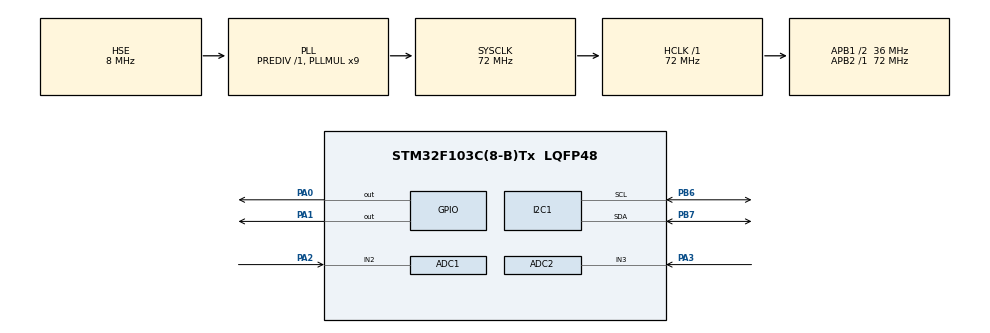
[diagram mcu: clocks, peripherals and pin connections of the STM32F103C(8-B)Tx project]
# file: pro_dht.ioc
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ADC1.Channel-0\#ChannelRegularConversion=ADC_CHANNEL_2
ADC1.NbrOfConversionFlag=1
ADC1.Rank-0\#ChannelRegularConversion=1
ADC1.SamplingTime-0\#ChannelRegularConversion=ADC_SAMPLETIME_55CYCLES_5
ADC1.master=1
ADC2.Channel-0\#ChannelRegularConversion=ADC_CHANNEL_3
ADC2.NbrOfConversionFlag=1
ADC2.Rank-0\#ChannelRegularConversion=1
ADC2.SamplingTime-0\#ChannelRegularConversion=ADC_SAMPLETIME_55CYCLES_5
FREERTOS.Queues01=myQueue01,16,uint16_t,0,Dynamic,NULL,NULL;myQueue02,16,uint16_t,0,Dynamic,NULL,NULL;myQueue03,16,uint16_t,0,Dynamic,NULL,NULL;myQueue04,16,uint16_t,0,Dynamic,NULL,NULL
FREERTOS.Tasks01=defaultTask,0,128,StartDefaultTask,Default,NULL,Dynamic,NULL,NULL;DHT11,0,128,DHT11_FULL,Default,NULL,Dynamic,NULL,NULL
Mcu.Family=STM32F1
Mcu.Name=STM32F103C(8-B)Tx
Mcu.Package=LQFP48
NVIC.PriorityGroup=NVIC_PRIORITYGROUP_4
PA0-WKUP.Signal=GPIO_Output
PA1.Signal=GPIO_Output
PA2.Signal=ADCx_IN2
PA3.Signal=ADCx_IN3
PB6.GPIO_Speed=GPIO_SPEED_FREQ_HIGH
PB6.Mode=I2C
PB6.Signal=I2C1_SCL
PB7.GPIO_Speed=GPIO_SPEED_FREQ_HIGH
PB7.Mode=I2C
PB7.Signal=I2C1_SDA
PD0-OSC_IN.Mode=HSE-External-Oscillator
PD0-OSC_IN.Signal=RCC_OSC_IN
PD1-OSC_OUT.Mode=HSE-External-Oscillator
PD1-OSC_OUT.Signal=RCC_OSC_OUT
ProjectManager.HeapSize=0x200
ProjectManager.StackSize=0x400
ProjectManager.TargetToolchain=MDK-ARM V5
RCC.ADCPresc=RCC_ADCPCLK2_DIV6
RCC.AHBFreq_Value=72000000
RCC.APB1CLKDivider=RCC_HCLK_DIV2
RCC.APB1Freq_Value=36000000
RCC.APB1TimFreq_Value=72000000
RCC.APB2Freq_Value=72000000
RCC.APB2TimFreq_Value=72000000
RCC.HCLKFreq_Value=72000000
RCC.PLLMUL=RCC_PLL_MUL9
RCC.PLLSourceVirtual=RCC_PLLSOURCE_HSE
RCC.SYSCLKFreq_VALUE=72000000
RCC.SYSCLKSource=RCC_SYSCLKSOURCE_PLLCLK
RCC.USBFreq_Value=72000000
SH.ADCx_IN2.0=ADC1_IN2,IN2
SH.ADCx_IN3.0=ADC2_IN3,IN3
TIM4.Period=0xffff-1
TIM4.Prescaler=72-1
VP_FREERTOS_VS_CMSIS_V1.Mode=CMSIS_V1
VP_SYS_VS_ND.Mode=No_Debug
VP_TIM4_VS_ClockSourceINT.Mode=Internal
board=custom

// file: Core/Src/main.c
/* USER CODE BEGIN Header */
/**
  ******************************************************************************
  * @file           : main.c
  * @brief          : Main program body
  ******************************************************************************
  * @attention
  *
  * <h2><center>&copy; Copyright (c) 2021 STMicroelectronics.
  * All rights reserved.</center></h2>
  *
  * This software component is licensed by ST under BSD 3-Clause license,
  * the "License"; You may not use this file except in compliance with the
  * License. You may obtain a copy of the License at:
  *                        opensource.org/licenses/BSD-3-Clause
  *
  ******************************************************************************
  */
/* USER CODE END Header */
#include "main.h"
#include "cmsis_os.h"

/* USER CODE BEGIN Includes */

#include "i2c-lcd.h"
#include "stdio.h"

/* USER CODE END Includes */

ADC_HandleTypeDef hadc1;
ADC_HandleTypeDef hadc2;

I2C_HandleTypeDef hi2c1;

TIM_HandleTypeDef htim4;

osThreadId defaultTaskHandle;
osThreadId DHT11Handle;
/* USER CODE BEGIN PV */
osMessageQId myQueue01Handle;
osMessageQId myQueue02Handle;
osMessageQId myQueue03Handle;
osMessageQId myQueue04Handle;
/* USER CODE END PV */

void SystemClock_Config(void);
static void MX_GPIO_Init(void);
static void MX_I2C1_Init(void);
static void MX_TIM4_Init(void);
static void MX_ADC1_Init(void);
static void MX_ADC2_Init(void);
void StartDefaultTask(void const * argument);
void DHT11_FULL(void const * argument);

/* USER CODE BEGIN 0 */

//delay function in microseconds
void delay (uint16_t time)
{
	__HAL_TIM_SET_COUNTER(&htim4, 0);
	while ((__HAL_TIM_GET_COUNTER(&htim4))<time);
}

/*
//Finction to display temperature
void Display_Temp (int Temp)
{
	char str[20] = {0};
	lcd_put_cur(0,0);

	sprintf (str, "Temp:%d", Temp);
	lcd_send_string(str);
	lcd_send_data('C');
}

////function to display RH
void Display_Rh (int Rh)
{
	char str[20] = {0};
	lcd_put_cur(0,10);

	sprintf (str, "Rh:%d", Rh);
	lcd_send_string(str);
	lcd_send_data('%');
}
*/
//variables declarations
uint8_t Rh_byte1, Rh_byte2, Temp_byte1, Temp_byte2;
uint16_t SUM, RH, TEMP;

uint32_t Temperature = 0;
uint32_t Humidity = 0;
uint8_t Presence = 0;

//function to set the pins as outputs
void Set_Pin_Output(GPIO_TypeDef *GPIOx, uint16_t GPIO_Pin)
{
	GPIO_InitTypeDef GPIO_InitStruct = {0};
	GPIO_InitStruct.Pin = GPIO_Pin;
	GPIO_InitStruct.Mode = GPIO_MODE_OUTPUT_PP;
	GPIO_InitStruct.Speed = GPIO_SPEED_FREQ_LOW;
	HAL_GPIO_Init(GPIOx, &GPIO_InitStruct);
}

//function to set pin as input
void Set_Pin_Input(GPIO_TypeDef *GPIOx, uint16_t GPIO_Pin)
{
	GPIO_InitTypeDef GPIO_InitStruct = {0};
	GPIO_InitStruct.Pin = GPIO_Pin;
	GPIO_InitStruct.Mode = GPIO_MODE_INPUT;
	GPIO_InitStruct.Pull = GPIO_NOPULL; //can be changed to PULLUP if no data is received from the pin
	HAL_GPIO_Init(GPIOx, &GPIO_InitStruct);
}

/***************************DHT11 FUNCTIONS BEGIN HERE**********************************************/
//Define the pin and the port for DHT11 Sensor
#define DHT11_PORT GPIOA
#define DHT11_PIN GPIO_PIN_1

//Function to send the start signal
void DHT11_Start (void)
{
	Set_Pin_Output (DHT11_PORT, DHT11_PIN); //set the dht pin as output
	/***********************************************/
	HAL_GPIO_WritePin(DHT11_PORT, DHT11_PIN, 1); //initialize with data pin high
	HAL_Delay(1000); //wait for 1000 milliseconds
	/***********************************************/

	HAL_GPIO_WritePin (DHT11_PORT, DHT11_PIN, 0); //pull the pin low
	delay(18000); //wait 18 milliseconds
	HAL_GPIO_WritePin (DHT11_PORT, DHT11_PIN, 1); //pull the pin high
	delay(20); //wait for 20 microseconds
	Set_Pin_Input(DHT11_PORT, DHT11_PIN); //set the pin as input
}

//dh11 function to check response
uint8_t DHT11_Check_Response (void)
{
	uint8_t Response = 0;
	delay(40); //first wait for 40 microseconds
	if (!(HAL_GPIO_ReadPin (DHT11_PORT, DHT11_PIN))) //check for pin to be low
	{
		delay(80); //wait for 80 microseconds
		if((HAL_GPIO_ReadPin (DHT11_PORT, DHT11_PIN))) Response = 1; //check if pin is high and return 1 to show sensor is present
		else Response = -1; //255
	}
	while ((HAL_GPIO_ReadPin (DHT11_PORT, DHT11_PIN))); //wait for the pin to go low again

	return Response;
}

//function to read data from dht11 signal pin
uint8_t DHT11_Read (void)
{
	uint8_t i, j;
	for (j=0;j<8;j++)
	{
		while(!(HAL_GPIO_ReadPin (DHT11_PORT, DHT11_PIN))); //wait for the pin to change to high
		delay(40); //wait for 40 microseconds
		if (!(HAL_GPIO_ReadPin (DHT11_PORT, DHT11_PIN))) //if the pin is low
		{
			i&= ~(1<<(7-j)); //write 0
		}
		else i|= (1<<(7-j)); //if the pin is high write 1
		while ((HAL_GPIO_ReadPin (DHT11_PORT, DHT11_PIN))); //wait for the pin to go low
	}

	return i;
}
//////////////////////////////////////DHT0///////////////////////
/* USER CODE END 0
void Display_Temp5 (int Temp5)
{
	char str[20] = {0};
	lcd_put_cur(1,0);

	sprintf (str, "Temp:%d", Temp5);
	lcd_send_string(str);
	lcd_send_data('C');
}

//function to display RH
void Display_Rh5 (int Rh5)
{
	char str[20] = {0};
	lcd_put_cur(1,10);

	sprintf (str, "Rh:%d", Rh5);
	lcd_send_string(str);
	lcd_send_data('%');
}
*/
//variables declarations
uint8_t Rh5_byte1, Rh5_byte2, Temp5_byte1, Temp5_byte2;
uint16_t SUM5, RH5, TEMP5;

uint32_t Temperature5 = 0;
uint32_t Humidity5 = 0;
uint8_t Presence5 = 0;

//function to set the pins as outputs
void Set_Pin_Output5(GPIO_TypeDef *GPIOx, uint16_t GPIO_Pin)
{
	GPIO_InitTypeDef GPIO_InitStruct = {0};
	GPIO_InitStruct.Pin = GPIO_Pin;
	GPIO_InitStruct.Mode = GPIO_MODE_OUTPUT_PP;
	GPIO_InitStruct.Speed = GPIO_SPEED_FREQ_LOW;
	HAL_GPIO_Init(GPIOx, &GPIO_InitStruct);
}

//function to set pin as input
void Set_Pin_Input5(GPIO_TypeDef *GPIOx, uint16_t GPIO_Pin)
{
	GPIO_InitTypeDef GPIO_InitStruct = {0};
	GPIO_InitStruct.Pin = GPIO_Pin;
	GPIO_InitStruct.Mode = GPIO_MODE_INPUT;
	GPIO_InitStruct.Pull = GPIO_NOPULL; //can be changed to PULLUP if no data is received from the pin
	HAL_GPIO_Init(GPIOx, &GPIO_InitStruct);
}

/***************************DHT11 FUNCTIONS BEGIN HERE**********************************************/
//Define the pin and the port for DHT11 Sensor
#define DHT11_PORT GPIOA
#define DHT11_PIN5 GPIO_PIN_0

//Function to send the start signal
void DHT11_Start5 (void)
{
	Set_Pin_Output5 (DHT11_PORT, DHT11_PIN5); //set the dht pin as output
	/***********************************************/
	HAL_GPIO_WritePin(DHT11_PORT, DHT11_PIN5, 1); //initialize with data pin high
	HAL_Delay(1000); //wait for 1000 milliseconds
	/***********************************************/

	HAL_GPIO_WritePin (DHT11_PORT, DHT11_PIN5, 0); //pull the pin low
	delay(18000); //wait 18 milliseconds
	HAL_GPIO_WritePin (DHT11_PORT, DHT11_PIN5, 1); //pull the pin high
	delay(20); //wait for 20 microseconds
	Set_Pin_Input5(DHT11_PORT, DHT11_PIN5); //set the pin as input
}

//dh11 function to check response
uint8_t DHT11_Check_Response5 (void)
{
	uint8_t Response5 = 0;
	delay(40); //first wait for 40 microseconds
	if (!(HAL_GPIO_ReadPin (DHT11_PORT, DHT11_PIN5))) //check for pin to be low
	{
		delay(80); //wait for 80 microseconds
		if((HAL_GPIO_ReadPin (DHT11_PORT, DHT11_PIN5))) Response5 = 1; //check if pin is high and return 1 to show sensor is present
		else Response5 = -1; //255
	}
	while ((HAL_GPIO_ReadPin (DHT11_PORT, DHT11_PIN5))); //wait for the pin to go low again

	return Response5;
}

//function to read data from dht11 signal pin
uint8_t DHT11_Read5 (void)
{
	uint8_t i, j;
	for (j=0;j<8;j++)
	{
		while(!(HAL_GPIO_ReadPin (DHT11_PORT, DHT11_PIN5))); //wait for the pin to change to high
		delay(40); //wait for 40 microseconds
		if (!(HAL_GPIO_ReadPin (DHT11_PORT, DHT11_PIN5))) //if the pin is low
		{
			i&= ~(1<<(7-j)); //write 0
		}
		else i|= (1<<(7-j)); //if the pin is high write 1
		while ((HAL_GPIO_ReadPin (DHT11_PORT, DHT11_PIN5))); //wait for the pin to go low
	}

	return i;
}

int main(void)
{

  /* MCU Configuration--------------------------------------------------------*/

  /* Reset of all peripherals, Initializes the Flash interface and the Systick. */
  HAL_Init();

  /* Configure the system clock */
  SystemClock_Config();

  /* Initialize all configured peripherals */
  MX_GPIO_Init();
  MX_I2C1_Init();
  MX_TIM4_Init();
  MX_ADC1_Init();
  MX_ADC2_Init();
  /* USER CODE BEGIN 2 */

	HAL_TIM_Base_Start(&htim4);

	lcd_init(); //initialize lcd
	lcd_send_string("INITIALIZING.."); //display string on lcd
	HAL_Delay(2000); //wait for 2 seconds
	lcd_clear(); //clear lcd display

  /* USER CODE END 2 */

	osMessageQDef(myQueue01, 16, uint16_t);
  myQueue01Handle = osMessageCreate(osMessageQ(myQueue01), NULL);

  /* definition and creation of myQueue02 */
  osMessageQDef(myQueue02, 16, uint16_t);
  myQueue02Handle = osMessageCreate(osMessageQ(myQueue02), NULL);

  /* definition and creation of myQueue03 */
  osMessageQDef(myQueue03, 16, uint16_t);
  myQueue03Handle = osMessageCreate(osMessageQ(myQueue03), NULL);

  /* definition and creation of myQueue04 */
  osMessageQDef(myQueue04, 16, uint16_t);
  myQueue04Handle = osMessageCreate(osMessageQ(myQueue04), NULL);
  /* Create the thread(s) */
  /* definition and creation of defaultTask */
  osThreadDef(defaultTask, StartDefaultTask, osPriorityNormal, 0, 128);
  defaultTaskHandle = osThreadCreate(osThread(defaultTask), NULL);

  /* definition and creation of DHT11 */
  osThreadDef(DHT11, DHT11_FULL, osPriorityNormal, 0, 128);
  DHT11Handle = osThreadCreate(osThread(DHT11), NULL);

  /* Start scheduler */
  osKernelStart();
  /* We should never get here as control is now taken by the scheduler */
  /* Infinite loop */
  while (1)
  {

  }
}

void SystemClock_Config(void)
{
  RCC_OscInitTypeDef RCC_OscInitStruct = {0};
  RCC_ClkInitTypeDef RCC_ClkInitStruct = {0};

  /** Initializes the RCC Oscillators according to the specified parameters
  * in the RCC_OscInitTypeDef structure.
  */
  RCC_OscInitStruct.OscillatorType = RCC_OSCILLATORTYPE_HSE;
  RCC_OscInitStruct.HSEState = RCC_HSE_ON;
  RCC_OscInitStruct.HSEPredivValue = RCC_HSE_PREDIV_DIV1;
  RCC_OscInitStruct.HSIState = RCC_HSI_ON;
  RCC_OscInitStruct.PLL.PLLState = RCC_PLL_ON;
  RCC_OscInitStruct.PLL.PLLSource = RCC_PLLSOURCE_HSE;
  RCC_OscInitStruct.PLL.PLLMUL = RCC_PLL_MUL9;
  if (HAL_RCC_OscConfig(&RCC_OscInitStruct) != HAL_OK)
  {
    Error_Handler();
  }

  /** Initializes the CPU, AHB and APB buses clocks
  */
  RCC_ClkInitStruct.ClockType = RCC_CLOCKTYPE_HCLK|RCC_CLOCKTYPE_SYSCLK
                              |RCC_CLOCKTYPE_PCLK1|RCC_CLOCKTYPE_PCLK2;
  RCC_ClkInitStruct.SYSCLKSource = RCC_SYSCLKSOURCE_PLLCLK;
  RCC_ClkInitStruct.AHBCLKDivider = RCC_SYSCLK_DIV1;
  RCC_ClkInitStruct.APB1CLKDivider = RCC_HCLK_DIV2;
  RCC_ClkInitStruct.APB2CLKDivider = RCC_HCLK_DIV1;

  if (HAL_RCC_ClockConfig(&RCC_ClkInitStruct, FLASH_LATENCY_2) != HAL_OK)
  {
    Error_Handler();
  }

}

static void MX_ADC1_Init(void)
{

  ADC_ChannelConfTypeDef sConfig = {0};

  /** Common config
  */
  hadc1.Instance = ADC1;
  hadc1.Init.ScanConvMode = ADC_SCAN_DISABLE;
  hadc1.Init.ContinuousConvMode = DISABLE;
  hadc1.Init.DiscontinuousConvMode = DISABLE;
  hadc1.Init.ExternalTrigConv = ADC_SOFTWARE_START;
  hadc1.Init.DataAlign = ADC_DATAALIGN_RIGHT;
  hadc1.Init.NbrOfConversion = 1;
  if (HAL_ADC_Init(&hadc1) != HAL_OK)
  {
    Error_Handler();
  }

  /** Configure Regular Channel
  */
  sConfig.Channel = ADC_CHANNEL_2;
  sConfig.Rank = ADC_REGULAR_RANK_1;
  sConfig.SamplingTime = ADC_SAMPLETIME_55CYCLES_5;
  if (HAL_ADC_ConfigChannel(&hadc1, &sConfig) != HAL_OK)
  {
    Error_Handler();
  }

}

static void MX_ADC2_Init(void)
{

  ADC_ChannelConfTypeDef sConfig = {0};

  /** Common config
  */
  hadc2.Instance = ADC2;
  hadc2.Init.ScanConvMode = ADC_SCAN_DISABLE;
  hadc2.Init.ContinuousConvMode = DISABLE;
  hadc2.Init.DiscontinuousConvMode = DISABLE;
  hadc2.Init.ExternalTrigConv = ADC_SOFTWARE_START;
  hadc2.Init.DataAlign = ADC_DATAALIGN_RIGHT;
  hadc2.Init.NbrOfConversion = 1;
  if (HAL_ADC_Init(&hadc2) != HAL_OK)
  {
    Error_Handler();
  }

  /** Configure Regular Channel
  */
  sConfig.Channel = ADC_CHANNEL_3;
  sConfig.Rank = ADC_REGULAR_RANK_1;
  sConfig.SamplingTime = ADC_SAMPLETIME_55CYCLES_5;
  if (HAL_ADC_ConfigChannel(&hadc2, &sConfig) != HAL_OK)
  {
    Error_Handler();
  }

}

static void MX_I2C1_Init(void)
{

  hi2c1.Instance = I2C1;
  hi2c1.Init.ClockSpeed = 100000;
  hi2c1.Init.DutyCycle = I2C_DUTYCYCLE_2;
  hi2c1.Init.OwnAddress1 = 0;
  hi2c1.Init.AddressingMode = I2C_ADDRESSINGMODE_7BIT;
  hi2c1.Init.DualAddressMode = I2C_DUALADDRESS_DISABLE;
  hi2c1.Init.OwnAddress2 = 0;
  hi2c1.Init.GeneralCallMode = I2C_GENERALCALL_DISABLE;
  hi2c1.Init.NoStretchMode = I2C_NOSTRETCH_DISABLE;
  if (HAL_I2C_Init(&hi2c1) != HAL_OK)
  {
    Error_Handler();
  }

}

static void MX_TIM4_Init(void)
{

  TIM_ClockConfigTypeDef sClockSourceConfig = {0};
  TIM_MasterConfigTypeDef sMasterConfig = {0};

  htim4.Instance = TIM4;
  htim4.Init.Prescaler = 72-1;
  htim4.Init.CounterMode = TIM_COUNTERMODE_UP;
  htim4.Init.Period = 0xffff-1;
  htim4.Init.ClockDivision = TIM_CLOCKDIVISION_DIV1;
  htim4.Init.AutoReloadPreload = TIM_AUTORELOAD_PRELOAD_DISABLE;
  if (HAL_TIM_Base_Init(&htim4) != HAL_OK)
  {
    Error_Handler();
  }
  sClockSourceConfig.ClockSource = TIM_CLOCKSOURCE_INTERNAL;
  if (HAL_TIM_ConfigClockSource(&htim4, &sClockSourceConfig) != HAL_OK)
  {
    Error_Handler();
  }
  sMasterConfig.MasterOutputTrigger = TIM_TRGO_RESET;
  sMasterConfig.MasterSlaveMode = TIM_MASTERSLAVEMODE_DISABLE;
  if (HAL_TIMEx_MasterConfigSynchronization(&htim4, &sMasterConfig) != HAL_OK)
  {
    Error_Handler();
  }

}

static void MX_GPIO_Init(void)
{
  GPIO_InitTypeDef GPIO_InitStruct = {0};

  /* GPIO Ports Clock Enable */
  __HAL_RCC_GPIOD_CLK_ENABLE();
  __HAL_RCC_GPIOA_CLK_ENABLE();
  __HAL_RCC_GPIOB_CLK_ENABLE();

  /*Configure GPIO pin Output Level */
  //HAL_GPIO_WritePin(GPIOA, GPIO_PIN_1, GPIO_PIN_RESET);
	HAL_GPIO_WritePin(GPIOA, GPIO_PIN_1, 1);

  /*Configure GPIO pin : PA1 */
  GPIO_InitStruct.Pin = GPIO_PIN_1;
  GPIO_InitStruct.Mode = GPIO_MODE_OUTPUT_PP;
  GPIO_InitStruct.Pull = GPIO_NOPULL;
  GPIO_InitStruct.Speed = GPIO_SPEED_FREQ_LOW;
  HAL_GPIO_Init(GPIOA, &GPIO_InitStruct);

}

void StartDefaultTask(void const * argument)
{
  /* USER CODE BEGIN 5 */
		lcd_init();
  /* Infinite loop */
  for(;;)
  {

	xQueueReceive(myQueue01Handle, &Temperature, portMAX_DELAY);
	xQueueReceive(myQueue02Handle, &Humidity, portMAX_DELAY);
	xQueueReceive(myQueue03Handle, &Temperature5, portMAX_DELAY);
	xQueueReceive(myQueue04Handle, &Humidity5, portMAX_DELAY);

	char str[20] = {0};

	lcd_put_cur(0,0);
	sprintf (str, "Temp:%d", Temperature);
	lcd_send_string(str);
	lcd_send_data('C');

	lcd_put_cur(0,10);
	sprintf (str, "Rh:%d", Humidity);
	lcd_send_string(str);
	lcd_send_data('%');

	lcd_put_cur(1,0);
	sprintf (str, "Temp:%d", Temperature5);
	lcd_send_string(str);
	lcd_send_data('C');

	lcd_put_cur(1,10);
	sprintf (str, "Rh:%d", Humidity5);
	lcd_send_string(str);
	lcd_send_data('%');

    osDelay(1);
  }
  /* USER CODE END 5 */
}

void DHT11_FULL(void const * argument)
{
  /* USER CODE BEGIN DHT11_FULL */

  /* Infinite loop */
  for(;;)
  {
		//Display_Temp(Temperature);
		//Display_Rh(Humidity);

		DHT11_Start();
		Presence = DHT11_Check_Response();

		Rh_byte1 = DHT11_Read ();
		Rh_byte2 = DHT11_Read ();
		Temp_byte1 = DHT11_Read ();
		Temp_byte2 = DHT11_Read ();
		SUM = DHT11_Read ();

		TEMP = Temp_byte1;
		RH = Rh_byte1;

		Temperature = (float) TEMP;
		Humidity = (float) RH;

    //// DHT1////
		//Display_Temp5(Temperature5);
		//Display_Rh5(Humidity5);

		/*******DHT11*********/
		DHT11_Start5();
		Presence5 = DHT11_Check_Response5(); //record the response from the sensor

		//Five bytes of data
		Rh5_byte1 = DHT11_Read5 ();
		Rh5_byte2 = DHT11_Read5 ();
		Temp5_byte1 = DHT11_Read5 ();
		Temp5_byte2 = DHT11_Read5 ();
		SUM5 = DHT11_Read5 ();

		TEMP5 = Temp5_byte1;
		RH5 = Rh5_byte1;

		Temperature5 = (float) TEMP5;
		Humidity5 = (float) RH5;

		xQueueSend(myQueue01Handle, &Temperature, portMAX_DELAY);
		xQueueSend(myQueue02Handle, &Humidity, portMAX_DELAY);
		xQueueSend(myQueue03Handle, &Temperature5, portMAX_DELAY);
		xQueueSend(myQueue04Handle, &Humidity5, portMAX_DELAY);

    osDelay(1);
  }
  /* USER CODE END DHT11_FULL */
}

void Error_Handler(void)
{
  __disable_irq();
  while (1)
  {
  }
}
